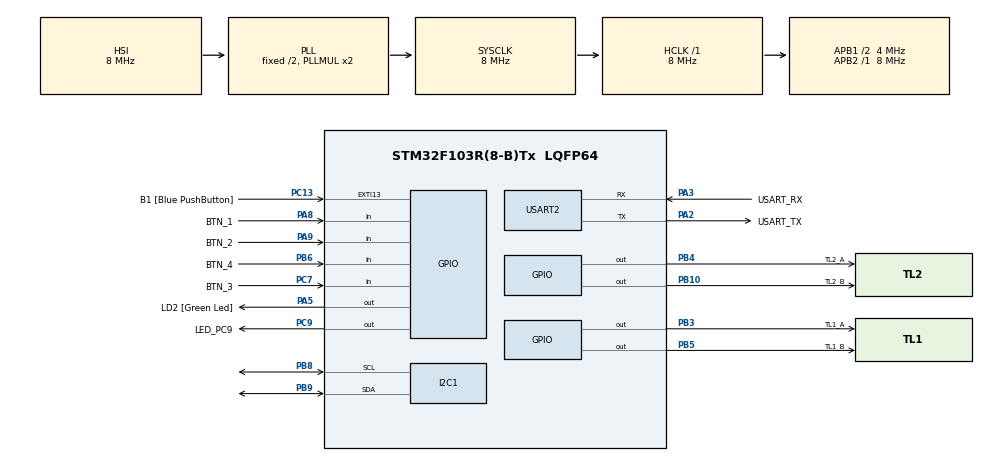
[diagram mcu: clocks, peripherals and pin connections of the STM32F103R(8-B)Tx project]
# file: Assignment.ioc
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Mcu.Family=STM32F1
Mcu.Name=STM32F103R(8-B)Tx
Mcu.Package=LQFP64
NVIC.EXTI15_10_IRQn=true\:0\:0\:false\:false\:true\:true\:true
NVIC.PriorityGroup=NVIC_PRIORITYGROUP_4
NVIC.TIM2_IRQn=true\:0\:0\:false\:false\:true\:true\:true
PA13.GPIO_Label=TMS
PA13.Mode=Serial_Wire
PA13.Signal=SYS_JTMS-SWDIO
PA14.GPIO_Label=TCK
PA14.Mode=Serial_Wire
PA14.Signal=SYS_JTCK-SWCLK
PA2.GPIO_Label=USART_TX
PA2.GPIO_Mode=GPIO_MODE_AF_PP
PA2.GPIO_PuPd=GPIO_NOPULL
PA2.GPIO_Speed=GPIO_SPEED_FREQ_LOW
PA2.Mode=Asynchronous
PA2.Signal=USART2_TX
PA3.GPIO_Label=USART_RX
PA3.GPIO_Mode=GPIO_MODE_AF_PP
PA3.GPIO_PuPd=GPIO_NOPULL
PA3.GPIO_Speed=GPIO_SPEED_FREQ_LOW
PA3.Mode=Asynchronous
PA3.Signal=USART2_RX
PA5.GPIO_Label=LD2 [Green Led]
PA5.GPIO_ModeDefaultOutputPP=GPIO_MODE_OUTPUT_PP
PA5.GPIO_PuPd=GPIO_NOPULL
PA5.GPIO_Speed=GPIO_SPEED_FREQ_LOW
PA5.Signal=GPIO_Output
PA8.GPIO_Label=BTN_1
PA8.GPIO_PuPd=GPIO_PULLUP
PA8.Signal=GPIO_Input
PA9.GPIO_Label=BTN_2
PA9.GPIO_PuPd=GPIO_PULLUP
PA9.Signal=GPIO_Input
PB10.GPIO_Label=TL2_B
PB10.Signal=GPIO_Output
PB3.GPIO_Label=TL1_A
PB3.GPIO_ModeDefaultOutputPP=GPIO_MODE_OUTPUT_PP
PB3.GPIO_PuPd=GPIO_NOPULL
PB3.Signal=GPIO_Output
PB4.GPIO_Label=TL2_A
PB4.Signal=GPIO_Output
PB5.GPIO_Label=TL1_B
PB5.Signal=GPIO_Output
PB6.GPIO_Label=BTN_4
PB6.GPIO_PuPd=GPIO_PULLUP
PB6.Signal=GPIO_Input
PB8.Mode=I2C
PB8.Signal=I2C1_SCL
PB9.Mode=I2C
PB9.Signal=I2C1_SDA
PC13-TAMPER-RTC.GPIO_Label=B1 [Blue PushButton]
PC13-TAMPER-RTC.GPIO_PuPd=GPIO_NOPULL
PC13-TAMPER-RTC.Signal=GPXTI13
PC14-OSC32_IN.Mode=LSE-External-Oscillator
PC14-OSC32_IN.Signal=RCC_OSC32_IN
PC15-OSC32_OUT.Mode=LSE-External-Oscillator
PC15-OSC32_OUT.Signal=RCC_OSC32_OUT
PC7.GPIO_Label=BTN_3
PC7.GPIO_PuPd=GPIO_PULLUP
PC7.Signal=GPIO_Input
PC9.GPIO_Label=LED_PC9
PC9.Signal=GPIO_Output
PD0-OSC_IN.Mode=HSE-External-Clock-Source
PD0-OSC_IN.Signal=RCC_OSC_IN
PD1-OSC_OUT.Mode=HSE-External-Clock-Source
PD1-OSC_OUT.Signal=RCC_OSC_OUT
ProjectManager.HeapSize=0x200
ProjectManager.StackSize=0x400
ProjectManager.TargetToolchain=STM32CubeIDE
RCC.AHBFreq_Value=8000000
RCC.APB1CLKDivider=RCC_HCLK_DIV2
RCC.APB1Freq_Value=4000000
RCC.APB1TimFreq_Value=8000000
RCC.APB2Freq_Value=8000000
RCC.APB2TimFreq_Value=8000000
RCC.HCLKFreq_Value=8000000
RCC.RTCClockSelection=RCC_RTCCLKSOURCE_LSE
RCC.SYSCLKFreq_VALUE=8000000
RCC.SYSCLKSource=RCC_SYSCLKSOURCE_PLLCLK
RCC.USBFreq_Value=8000000
TIM2.Period=9
TIM2.Prescaler=7999
USART2.VirtualMode=VM_ASYNC
VP_TIM2_VS_ClockSourceINT.Mode=Internal
board=NUCLEO-F103RB

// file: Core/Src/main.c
/* USER CODE BEGIN Header */
/**
  ****************************************************************************
  * @file           : main.c
  * @brief          : Main program body
  ****************************************************************************
  * @attention
  *
  * <h2><center>&copy; Copyright (c) 2026 STMicroelectronics.
  * All rights reserved.</center></h2>
  *
  * This software component is licensed by ST under BSD 3-Clause license,
  * the "License"; You may not use this file except in compliance with the
  * License. You may obtain a copy of the License at:
  *                        opensource.org/licenses/BSD-3-Clause
  *
  ****************************************************************************
  */
/* USER CODE END Header */
#include "main.h"

/* USER CODE BEGIN Includes */
#include "global.h"
#include "scheduler.h"
#include "software_timer.h"
#include "button.h"
#include "traffic_light.h"
#include "lcd.h"
#include "dht20.h"
#include "fsm_automatic.h"
#include "fsm_manual.h"
#include "fsm_tuning.h"
/* USER CODE END Includes */

I2C_HandleTypeDef hi2c1;

TIM_HandleTypeDef htim2;

UART_HandleTypeDef huart2;

void SystemClock_Config(void);
static void MX_GPIO_Init(void);
static void MX_USART2_UART_Init(void);
static void MX_I2C1_Init(void);
static void MX_TIM2_Init(void);

int main(void)
{

  /* MCU Configuration--------------------------------------------------------*/

  /* Reset of all peripherals, Initializes the Flash interface and the Systick. */
  HAL_Init();

  /* Configure the system clock */
  SystemClock_Config();

  /* Initialize all configured peripherals */
  MX_GPIO_Init();
  MX_USART2_UART_Init();
  MX_I2C1_Init();
  MX_TIM2_Init();
  /* USER CODE BEGIN 2 */
  /* ---- Khoi tao (HAL_Delay chi duoc dung o day, truoc khi chay scheduler) ---- */
  global_init();
  SCH_Init();
  button_init();
  traffic_init();
  lcd_init();
  dht20_init();

  /* ---- A: scheduler va FSM tu dong (1 tick = 10 ms) ---- */
  SCH_Add_Task(button_read,        1, 1);      /* doc nut truoc cac FSM */
  SCH_Add_Task(timer_run,          1, 1);
  SCH_Add_Task(fsm_automatic_run,  1, 1);

  /* ---- B: FSM thu cong ---- */
  SCH_Add_Task(fsm_manual_run,     1, 1);

  /* ---- C: FSM chinh thoi gian, LCD, DHT20 ---- */
  SCH_Add_Task(fsm_tuning_run,     1, 1);
  SCH_Add_Task(lcd_env_task,       20, 20);    /* 200 ms, chi ve lai khi gia tri doi */
  SCH_Add_Task(dht20_task,         MS_TO_TICKS(2000), MS_TO_TICKS(2000)); /* 2 s */

  HAL_TIM_Base_Start_IT(&htim2);               /* bat tick 10 ms sau khi da dang ky task */
  /* USER CODE END 2 */

  /* Infinite loop */
  while (1)
  {

    /* USER CODE BEGIN 3 */
    SCH_Dispatch_Tasks();
  }
  /* USER CODE END 3 */
}

void SystemClock_Config(void)
{
  RCC_OscInitTypeDef RCC_OscInitStruct = {0};
  RCC_ClkInitTypeDef RCC_ClkInitStruct = {0};

  /** Initializes the RCC Oscillators according to the specified parameters
  * in the RCC_OscInitTypeDef structure.
  */
  RCC_OscInitStruct.OscillatorType = RCC_OSCILLATORTYPE_HSI;
  RCC_OscInitStruct.HSIState = RCC_HSI_ON;
  RCC_OscInitStruct.HSICalibrationValue = RCC_HSICALIBRATION_DEFAULT;
  RCC_OscInitStruct.PLL.PLLState = RCC_PLL_ON;
  RCC_OscInitStruct.PLL.PLLSource = RCC_PLLSOURCE_HSI_DIV2;
  RCC_OscInitStruct.PLL.PLLMUL = RCC_PLL_MUL2;
  if (HAL_RCC_OscConfig(&RCC_OscInitStruct) != HAL_OK)
  {
    Error_Handler();
  }
  /** Initializes the CPU, AHB and APB buses clocks
  */
  RCC_ClkInitStruct.ClockType = RCC_CLOCKTYPE_HCLK|RCC_CLOCKTYPE_SYSCLK
                              |RCC_CLOCKTYPE_PCLK1|RCC_CLOCKTYPE_PCLK2;
  RCC_ClkInitStruct.SYSCLKSource = RCC_SYSCLKSOURCE_PLLCLK;
  RCC_ClkInitStruct.AHBCLKDivider = RCC_SYSCLK_DIV1;
  RCC_ClkInitStruct.APB1CLKDivider = RCC_HCLK_DIV2;
  RCC_ClkInitStruct.APB2CLKDivider = RCC_HCLK_DIV1;

  if (HAL_RCC_ClockConfig(&RCC_ClkInitStruct, FLASH_LATENCY_0) != HAL_OK)
  {
    Error_Handler();
  }
}

static void MX_I2C1_Init(void)
{

  hi2c1.Instance = I2C1;
  hi2c1.Init.ClockSpeed = 100000;
  hi2c1.Init.DutyCycle = I2C_DUTYCYCLE_2;
  hi2c1.Init.OwnAddress1 = 0;
  hi2c1.Init.AddressingMode = I2C_ADDRESSINGMODE_7BIT;
  hi2c1.Init.DualAddressMode = I2C_DUALADDRESS_DISABLE;
  hi2c1.Init.OwnAddress2 = 0;
  hi2c1.Init.GeneralCallMode = I2C_GENERALCALL_DISABLE;
  hi2c1.Init.NoStretchMode = I2C_NOSTRETCH_DISABLE;
  if (HAL_I2C_Init(&hi2c1) != HAL_OK)
  {
    Error_Handler();
  }

}

static void MX_TIM2_Init(void)
{

  TIM_ClockConfigTypeDef sClockSourceConfig = {0};
  TIM_MasterConfigTypeDef sMasterConfig = {0};

  htim2.Instance = TIM2;
  htim2.Init.Prescaler = 7999;
  htim2.Init.CounterMode = TIM_COUNTERMODE_UP;
  htim2.Init.Period = 9;
  htim2.Init.ClockDivision = TIM_CLOCKDIVISION_DIV1;
  htim2.Init.AutoReloadPreload = TIM_AUTORELOAD_PRELOAD_DISABLE;
  if (HAL_TIM_Base_Init(&htim2) != HAL_OK)
  {
    Error_Handler();
  }
  sClockSourceConfig.ClockSource = TIM_CLOCKSOURCE_INTERNAL;
  if (HAL_TIM_ConfigClockSource(&htim2, &sClockSourceConfig) != HAL_OK)
  {
    Error_Handler();
  }
  sMasterConfig.MasterOutputTrigger = TIM_TRGO_RESET;
  sMasterConfig.MasterSlaveMode = TIM_MASTERSLAVEMODE_DISABLE;
  if (HAL_TIMEx_MasterConfigSynchronization(&htim2, &sMasterConfig) != HAL_OK)
  {
    Error_Handler();
  }

}

static void MX_USART2_UART_Init(void)
{

  huart2.Instance = USART2;
  huart2.Init.BaudRate = 115200;
  huart2.Init.WordLength = UART_WORDLENGTH_8B;
  huart2.Init.StopBits = UART_STOPBITS_1;
  huart2.Init.Parity = UART_PARITY_NONE;
  huart2.Init.Mode = UART_MODE_TX_RX;
  huart2.Init.HwFlowCtl = UART_HWCONTROL_NONE;
  huart2.Init.OverSampling = UART_OVERSAMPLING_16;
  if (HAL_UART_Init(&huart2) != HAL_OK)
  {
    Error_Handler();
  }

}

static void MX_GPIO_Init(void)
{
  GPIO_InitTypeDef GPIO_InitStruct = {0};

  /* GPIO Ports Clock Enable */
  __HAL_RCC_GPIOC_CLK_ENABLE();
  __HAL_RCC_GPIOD_CLK_ENABLE();
  __HAL_RCC_GPIOA_CLK_ENABLE();
  __HAL_RCC_GPIOB_CLK_ENABLE();

  /*Configure GPIO pin Output Level */
  HAL_GPIO_WritePin(LD2_GPIO_Port, LD2_Pin, GPIO_PIN_RESET);

  /*Configure GPIO pin Output Level */
  HAL_GPIO_WritePin(GPIOB, TL2_B_Pin|TL1_A_Pin|TL2_A_Pin|TL1_B_Pin, GPIO_PIN_RESET);

  /*Configure GPIO pin Output Level */
  HAL_GPIO_WritePin(LED_PC9_GPIO_Port, LED_PC9_Pin, GPIO_PIN_RESET);

  /*Configure GPIO pin : B1_Pin */
  GPIO_InitStruct.Pin = B1_Pin;
  GPIO_InitStruct.Mode = GPIO_MODE_IT_RISING;
  GPIO_InitStruct.Pull = GPIO_NOPULL;
  HAL_GPIO_Init(B1_GPIO_Port, &GPIO_InitStruct);

  /*Configure GPIO pin : LD2_Pin */
  GPIO_InitStruct.Pin = LD2_Pin;
  GPIO_InitStruct.Mode = GPIO_MODE_OUTPUT_PP;
  GPIO_InitStruct.Pull = GPIO_NOPULL;
  GPIO_InitStruct.Speed = GPIO_SPEED_FREQ_LOW;
  HAL_GPIO_Init(LD2_GPIO_Port, &GPIO_InitStruct);

  /*Configure GPIO pins : TL2_B_Pin TL1_A_Pin TL2_A_Pin TL1_B_Pin */
  GPIO_InitStruct.Pin = TL2_B_Pin|TL1_A_Pin|TL2_A_Pin|TL1_B_Pin;
  GPIO_InitStruct.Mode = GPIO_MODE_OUTPUT_PP;
  GPIO_InitStruct.Pull = GPIO_NOPULL;
  GPIO_InitStruct.Speed = GPIO_SPEED_FREQ_LOW;
  HAL_GPIO_Init(GPIOB, &GPIO_InitStruct);

  /*Configure GPIO pin : BTN_3_Pin */
  GPIO_InitStruct.Pin = BTN_3_Pin;
  GPIO_InitStruct.Mode = GPIO_MODE_INPUT;
  GPIO_InitStruct.Pull = GPIO_PULLUP;
  HAL_GPIO_Init(BTN_3_GPIO_Port, &GPIO_InitStruct);

  /*Configure GPIO pin : LED_PC9_Pin */
  GPIO_InitStruct.Pin = LED_PC9_Pin;
  GPIO_InitStruct.Mode = GPIO_MODE_OUTPUT_PP;
  GPIO_InitStruct.Pull = GPIO_NOPULL;
  GPIO_InitStruct.Speed = GPIO_SPEED_FREQ_LOW;
  HAL_GPIO_Init(LED_PC9_GPIO_Port, &GPIO_InitStruct);

  /*Configure GPIO pins : BTN_1_Pin BTN_2_Pin */
  GPIO_InitStruct.Pin = BTN_1_Pin|BTN_2_Pin;
  GPIO_InitStruct.Mode = GPIO_MODE_INPUT;
  GPIO_InitStruct.Pull = GPIO_PULLUP;
  HAL_GPIO_Init(GPIOA, &GPIO_InitStruct);

  /*Configure GPIO pin : BTN_4_Pin */
  GPIO_InitStruct.Pin = BTN_4_Pin;
  GPIO_InitStruct.Mode = GPIO_MODE_INPUT;
  GPIO_InitStruct.Pull = GPIO_PULLUP;
  HAL_GPIO_Init(BTN_4_GPIO_Port, &GPIO_InitStruct);

  /* EXTI interrupt init*/
  HAL_NVIC_SetPriority(EXTI15_10_IRQn, 0, 0);
  HAL_NVIC_EnableIRQ(EXTI15_10_IRQn);

}

/* USER CODE BEGIN 4 */
void HAL_TIM_PeriodElapsedCallback(TIM_HandleTypeDef *htim)
{
  if (htim->Instance == TIM2) {
    SCH_Update();                              /* O(1), moi 10 ms */
  }
}
/* USER CODE END 4 */

void Error_Handler(void)
{
  __disable_irq();
  while (1)
  {
  }
}

/************************ (C) COPYRIGHT STMicroelectronics *****END OF FILE****/
